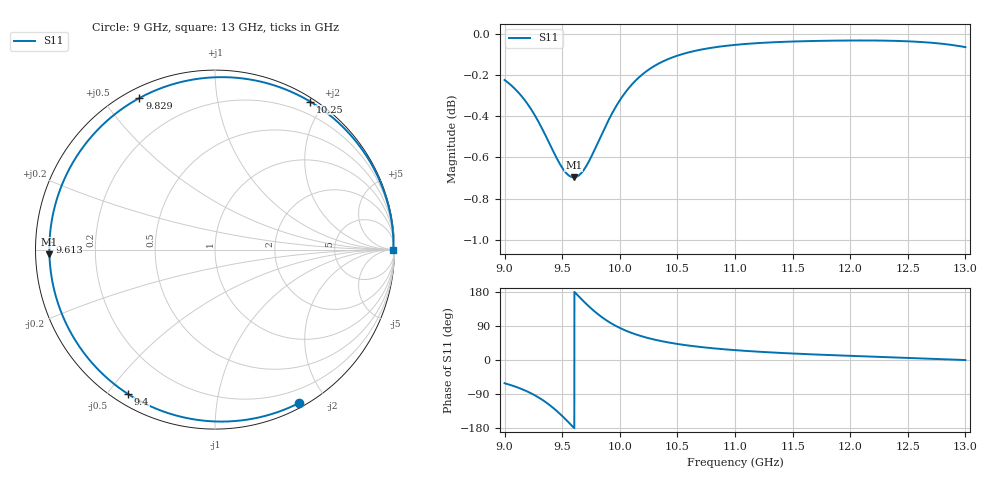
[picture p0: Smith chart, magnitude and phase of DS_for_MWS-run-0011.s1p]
! TOUCHSTONE file generated by CST DESIGN STUDIO
! Date and time: Tue Feb  4 14:23:12 2025
! Project name: C:\Work\MatlabApps\UnitCellOptimizationMatlab\CST\unitcell.cst
! Tree item: Tasks\Sweep1\SPara1\S-Parameters
! Header version: 2024
! Port assignment regex: !\s*Touchstone port\s*([0-9]+)\s*=\s*(CST MWS port|CST DES external port|CST DES block port)\s*(.+)\s* \(\"(.*)\"\)(\s*mode\s*([0-9]+))?.*
! Touchstone port assignment:
! Touchstone port 1 = CST DES external port 1 ("")
# GHz S MA R 50
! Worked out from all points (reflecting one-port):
!   4001 points, 9 GHz to 13 GHz, reference 50 ohm
!   lowest |S11| = -0.7 dB at 9.6 GHz (marker M1), VSWR 24.95, Z = 2 - j0.691 ohm
!   phase of S11 starts at -61 deg and turns -299 deg over the sweep
!   S11 on the Smith chart (normalised r, x): 9 GHz: 0.05, -1.69; 9.4 GHz: 0.04, -0.56; 9.613 GHz: 0.04, +0.02; 9.829 GHz: 0.04, +0.62; 10.25 GHz: 0.04, +1.83; 13 GHz: open
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9  0.9746 -61.3
9.054  0.9719 -66.2
9.125  0.9675 -73.8
9.187  0.9627 -81.7
9.247  0.9571 -90.6
9.329  0.948 -105.4
9.4  0.9392 -121.1
9.45  0.9332 -133.8
9.5  0.9279 -147.7
9.552  0.9241 -163.4
9.6  0.9229 -178.4
9.613  0.923 177.5
9.668  0.9253 160.3
9.728  0.9308 142.5
9.778  0.9369 129.0
9.829  0.9436 116.5
9.907  0.9535 100.2
10  0.9636 84.6
10.12  0.9732 69.5
10.254  0.9804 57.3
10.368  0.9846 49.4
10.5  0.988 42.3
10.72  0.9915 33.7
11  0.994 26.0
11.5  0.9958 17.1
12  0.9964 11.0
12.5  0.9959 5.8
13  0.9927 -0.2
